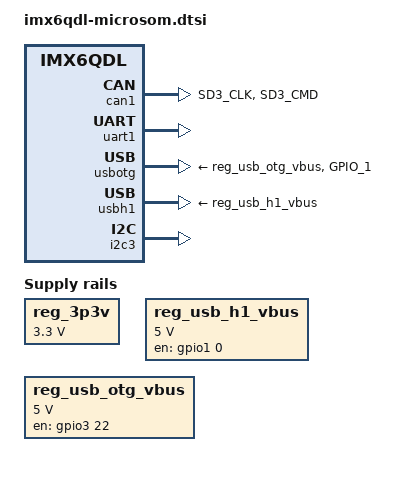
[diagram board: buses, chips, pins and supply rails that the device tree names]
/*
 * Copyright 2013 Russell King
 *
 * The code contained herein is licensed under the GNU General Public
 * License version 2.
 */
/ {
	regulators {
		compatible = "simple-bus";

		reg_3p3v: 3p3v {
			compatible = "regulator-fixed";
			regulator-name = "3P3V";
			regulator-min-microvolt = <3300000>;
			regulator-max-microvolt = <3300000>;
			regulator-always-on;
		};

		reg_usb_h1_vbus: usb_h1_vbus {
			compatible = "regulator-fixed";
			regulator-name = "usb_h1_vbus";
			regulator-min-microvolt = <5000000>;
			regulator-max-microvolt = <5000000>;
			gpio = <&gpio1 0 0>;
			enable-active-high;
		};

		reg_usb_otg_vbus: usb_otg_vbus {
			compatible = "regulator-fixed";
			regulator-name = "usb_otg_vbus";
			regulator-min-microvolt = <5000000>;
			regulator-max-microvolt = <5000000>;
			gpio = <&gpio3 22 0>;
			enable-active-high;
		};
	};
};

&can1 {
	pinctrl-names = "default";
	pinctrl-0 = <&pinctrl_microsom_flexcan1>;
	status = "okay";
};

&iomuxc {
	microsom {
		pinctrl_microsom_flexcan1: microsom-flexcan1 {
			fsl,pins = <
				MX6QDL_PAD_SD3_CLK__FLEXCAN1_RX 0x80000000
				MX6QDL_PAD_SD3_CMD__FLEXCAN1_TX 0x80000000
			>;
		};

		pinctrl_microsom_usbotg: microsom-usbotg {
			/*
			 * Similar to pinctrl_usbotg_2, but we want it
			 * pulled down for a fixed host connection.
			 */
			fsl,pins = <MX6QDL_PAD_GPIO_1__USB_OTG_ID 0x13059>;
		};
	};
};

&uart1 {
	pinctrl-names = "default";
	pinctrl-0 = <&pinctrl_uart1_1>;
	status = "okay";
};

&usbotg {
	vbus-supply = <&reg_usb_otg_vbus>;
	pinctrl-names = "default";
	pinctrl-0 = <&pinctrl_microsom_usbotg>;
	status = "okay";
};

&usbh1 {
	vbus-supply = <&reg_usb_h1_vbus>;
	status = "okay";
};

/* experimental stuff */

/* USDHC1 - Allegedly connected to BRCM Wifi/BT/FM */
&usdhc1 {
	pinctrl-names = "default";
	pinctrl-0 = <&pinctrl_usdhc1_2>;
};

/* SPDIF out */

/* CAN1 */
/* CCM */

/* ECSPI2 */

/* I2C1 */
/* I2C2 - HDMI DDC */

/* I2C3 */
&i2c3 {
	pinctrl-names = "default";
	pinctrl-0 = <&pinctrl_i2c3_1>;
	status = "okay";
};

/* PWM */

/* UART2 */

/* USB OC pin */

/* USDHC2 */

/* USDHC3 */
&usdhc3 {
	pinctrl-names = "default";
	pinctrl-0 = <&pinctrl_usdhc3_1>;
	status = "disabled";
};

/* USDHC4 */
&usdhc4 {
	pinctrl-names = "default";
	pinctrl-0 = <&pinctrl_usdhc4_1>;
	status = "disabled";
};
